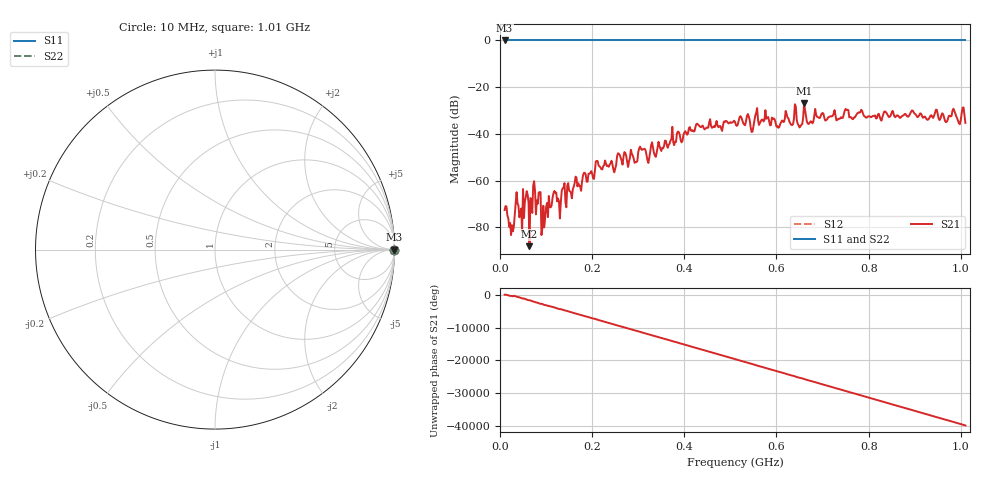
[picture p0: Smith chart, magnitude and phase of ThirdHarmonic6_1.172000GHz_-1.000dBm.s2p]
! 8/16/2025 11:52:58 AM
! C:\ANRITSUVNA\TEMP\TEMP.S2P
! CHANNEL.1
! TR.MEASUREMENT
! RAW.DATA
! RF.CORRECTION.OFF
! AVERAGING.OFF
! IF.BANDWIDTH: 5KHZ
! SWEEPTYPE:  FREQ.SWEEP(Linear)
! Reference Plane Port Info
! PORT:  PORT1  PORT2
! DISTANCE:  0  m  0  m
! TIME:  0  s  0  s
! PHASE.OFFSET:  0  deg.  0  deg.
! LOSS:  0  dB  0  dB
! REF.LOSS:  0  dB  0  dB
! REF.FREQ:  0  Hz  0  Hz
! Power Info
! POWER:  -20  dBm  -20  dBm
! EFF.POWER:  -20  dBm  -20  dBm
! SOURCE.ATTEN:  0  dB  0  dB
! TEST.ATTEN:  0  dB  0  dB
# GHZ S RI R 50.0
! FREQ.GHZ  S11RE  S11IM  S21RE  S21IM  S12RE  S12IM  S22RE  S22IM
!; PortSelection: Port_12
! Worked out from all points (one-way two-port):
!   501 points, 10 MHz to 1.01 GHz, reference 50 ohm
!   highest |S21| = -26.76 dB at 660 MHz (marker M1); lowest = -88.1 dB at 64 MHz (marker M2)
!   lowest |S11| = 0.0 dB at 10 MHz (marker M3)
!   |S11| at or under -10 dB: nowhere
!   |S22| runs from 0.0 to 0.0 dB; largest |S21 - S12| = 1
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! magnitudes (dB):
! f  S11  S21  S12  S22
! 10 MHz  0.0  -72.6  0.0  0.0
! 26 MHz  0.0  -79.1  0.0  0.0
! 36 MHz  0.0  -65.0  0.0  0.0
! 44 MHz  0.0  -74.1  0.0  0.0
! 54 MHz  0.0  -68.8  0.0  0.0
! 64 MHz  0.0  -88.1  0.0  0.0
! 84 MHz  0.0  -65.1  0.0  0.0
! 94 MHz  0.0  -70.8  0.0  0.0
! 118 MHz  0.0  -64.4  0.0  0.0
! 128 MHz  0.0  -68.9  0.0  0.0
! 136 MHz  0.0  -63.3  0.0  0.0
! 178 MHz  0.0  -60.5  0.0  0.0
! 212 MHz  0.0  -51.7  0.0  0.0
! 344 MHz  0.0  -43.4  0.0  0.0
! 428 MHz  0.0  -35.6  0.0  0.0
! 510 MHz  0.0  -34.8  0.0  0.0
! 642 MHz  0.0  -28.3  0.0  0.0
! 652 MHz  0.0  -36.7  0.0  0.0
! 660 MHz  0.0  -26.8  0.0  0.0
! 678 MHz  0.0  -35.5  0.0  0.0
! 844 MHz  0.0  -32.8  0.0  0.0
! 1.01 GHz  0.0  -35.3  0.0  0.0
